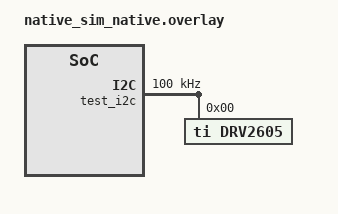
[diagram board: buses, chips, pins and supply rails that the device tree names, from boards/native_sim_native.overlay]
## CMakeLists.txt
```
# SPDX-License-Identifier: Apache-2.0

cmake_minimum_required(VERSION 3.20.0)
find_package(Zephyr REQUIRED HINTS $ENV{ZEPHYR_BASE})
project(test_vibrator)

FILE(GLOB app_sources src/*.c)
target_sources(app PRIVATE ${app_sources})
```

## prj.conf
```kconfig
CONFIG_ZTEST=y

CONFIG_GREYBUS=y
CONFIG_GREYBUS_XPORT_DUMMY=y
CONFIG_GREYBUS_VIBRATOR=y
CONFIG_HAPTICS=y
```

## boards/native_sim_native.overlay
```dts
/*
 * Copyright (c) 2025 Ayush Singh, BeagleBoard.org
 *
 * SPDX-License-Identifier: Apache-2.0
 */

/ {
	zephyr,greybus {
		gbbundle1 {
			status = "okay";
			compatible = "zephyr,greybus-bundle-vibrator";
			vibrators = <&drv2605>;
		};
	};

	test {
		#address-cells = <1>;
		#size-cells = <1>;

		test_i2c: i2c@11112222 {
			#address-cells = <1>;
			#size-cells = <0>;
			compatible = "vnd,i2c";
			reg = <0x11112222 0x1000>;
			status = "okay";
			clock-frequency = <I2C_BITRATE_STANDARD>;

			drv2605: drv2605@0 {
				compatible = "ti,drv2605";
				reg = <0x0>;
				status = "okay";
				actuator-mode = "LRA";
			};
		};
	};
};
```

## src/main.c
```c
/*
 * Copyright (c) 2025 Ayush Singh, BeagleBoard.org
 *
 * SPDX-License-Identifier: Apache-2.0
 */

#include "greybus/greybus_messages.h"
#include <zephyr/ztest.h>
#include <greybus/greybus.h>
#include <greybus-utils/manifest.h>
#include <greybus/greybus_log.h>

// struct gb_msg_with_cport gb_transport_get_message(void);

ZTEST_SUITE(greybus_vibrator_tests, NULL, NULL, NULL, NULL, NULL);

ZTEST(greybus_vibrator_tests, test_cport_count)
{
	zassert_equal(GREYBUS_CPORT_COUNT, 2, "Invalid number of cports");
}
```
